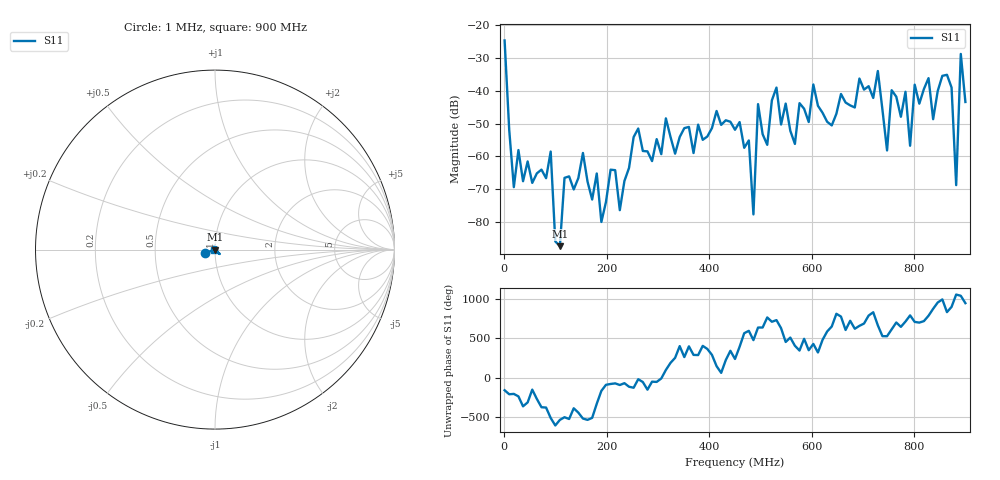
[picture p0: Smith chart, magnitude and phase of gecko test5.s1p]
! File created by NanoVNA (https://gen111.taobao.com/)
! Start 1000000Hz  Stop 899999800Hz  Points 101
# HZ S MA R 50
!S - Parameter data, F S11
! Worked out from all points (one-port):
!   101 points, 1 MHz to 900 MHz, reference 50 ohm
!   lowest |S11| = -87.3 dB at 108.9 MHz (marker M1), VSWR 1.00, Z = 50 - j0.000424 ohm
!   |S11| at or under -10 dB: start of sweep to end of sweep
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1000000  0.05829 -158.9
1.89799e7  0.0003412 154.8
9.08999e7  0.001188 -150.2
1.088799e8  4.312e-05 -174.4
1.178699e8  0.0004726 -140.7
1.538299e8  0.001131 -157.6
1.897899e8  0.0001007 -166.9
2.347399e8  0.0004228 -69.5
2.617099e8  0.002664 -19.2
3.426199e8  0.001978 39.9
4.504999e8  0.002549 -122.8
4.774698e8  0.001753 -126.4
4.864598e8  0.0001313 115.7
4.954498e8  0.006259 -84.9
5.673698e8  0.001553 44.4
6.033298e8  0.01247 67.4
6.842398e8  0.005568 -100.2
7.291898e8  0.01998 -57.6
7.471698e8  0.001235 165.5
7.561598e8  0.0102 -107.6
7.921198e8  0.001456 69.0
8.011098e8  0.01238 -13.5
8.370698e8  0.003692 152.5
8.640398e8  0.01749 110.3
8.730298e8  0.01121 177.0
8.820198e8  0.0003661 -27.0
8.910098e8  0.03635 -42.7
8.999998e8  0.006748 -136.3
